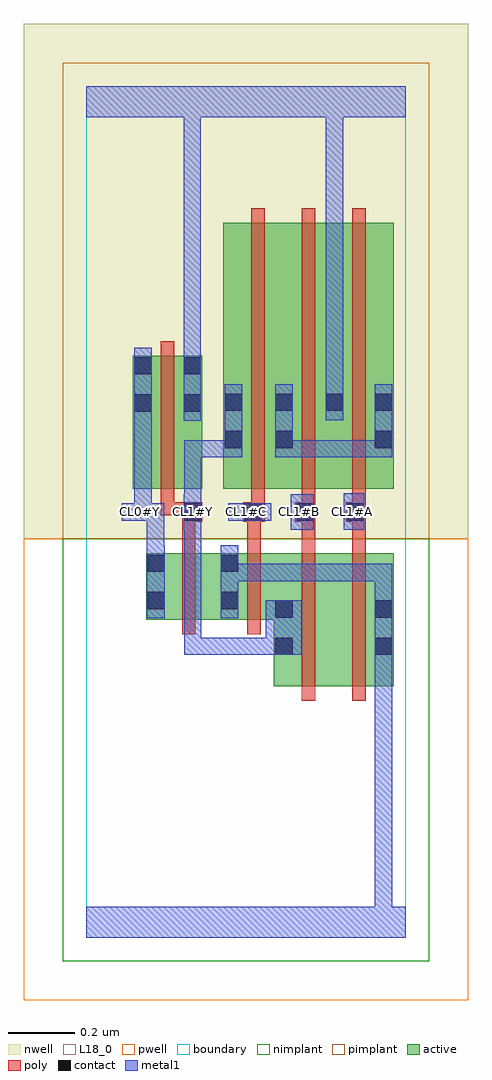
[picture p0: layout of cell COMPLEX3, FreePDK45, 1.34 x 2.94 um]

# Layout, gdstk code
import gdstk
lib = gdstk.Library(unit=1e-6, precision=1e-09)
def R(c, l, rs):  # rectangles x0, y0, x1, y1
    for r in rs: c.add(gdstk.rectangle(r[:2], r[2:], *l))
def A(c, l, x, y, w, h, nx, ny, dx, dy):  # array of equal rectangles
    R(c, l, [(x+i*dx, y+j*dy, x+i*dx+w, y+j*dy+h) for i in range(nx) for j in range(ny)])
active = (1, 0)
pwell = (2, 0)
nwell = (3, 0)
nimplant = (4, 0)
pimplant = (5, 0)
poly = (9, 0)
contact = (10, 0)
metal1 = (11, 0)
L18_0 = (18, 0)
boundary = (235, 0)

complex3 = lib.new_cell('COMPLEX3')
A(complex3, active, 0.412, 1.35, 0.06, 0.694, 3, 1, 0.152, 0)
R(complex3, active, [(0.564,0.756,0.624,1.156), (0.564,0.756,0.744,1.156), (0.744,0.756,0.924,1.156), (0.864,0.756,0.924,1.156), (0.18,0.956,0.24,1.156), (0.18,0.956,0.46,1.156), (0.4,0.956,0.624,1.156), (0.4,0.956,0.46,1.156), (0.14,1.35,0.2,1.75), (0.14,1.35,0.348,1.75), (0.288,1.35,0.348,1.75), (0.412,1.35,0.624,2.15), (0.564,1.35,0.776,2.15), (0.716,1.35,0.924,2.15), (0.864,1.35,0.924,2.044)])
R(complex3, pwell, [(-0.188,-0.188,1.148,1.2)])
R(complex3, nwell, [(-0.188,1.2,1.148,2.748)])
R(complex3, nimplant, [(-0.072,-0.072,1.032,1.2)])
R(complex3, pimplant, [(-0.072,1.2,1.032,2.632)])
A(complex3, poly, 0.496, 1.27, 0.04, 0.076, 3, 1, 0.152, 0)
A(complex3, poly, 0.496, 1.306, 0.04, 0.888, 3, 1, 0.152, 0)
R(complex3, poly, [(0.648,0.712,0.688,1.2), (0.8,0.712,0.84,1.2), (0.288,0.912,0.328,1.2), (0.484,0.912,0.524,1.2), (0.288,1.16,0.328,1.29), (0.484,1.16,0.524,1.29), (0.648,1.16,0.688,1.29), (0.8,1.16,0.84,1.29), (0.288,1.25,0.348,1.31), (0.472,1.25,0.536,1.31), (0.484,1.25,0.524,1.29), (0.484,1.25,0.524,1.29), (0.628,1.25,0.688,1.31), (0.648,1.25,0.688,1.29), (0.648,1.25,0.688,1.29), (0.78,1.25,0.84,1.31), (0.8,1.25,0.84,1.29), (0.8,1.25,0.84,1.29), (0.224,1.27,0.264,1.346), (0.224,1.27,0.328,1.31), (0.288,1.27,0.328,1.31), (0.224,1.306,0.264,1.794)])
A(complex3, contact, 0.416, 1.584, 0.052, 0.052, 3, 1, 0.152, 0)
R(complex3, contact, [(0.568,0.85,0.62,0.902), (0.868,0.85,0.92,0.902), (0.568,0.962,0.62,1.014), (0.868,0.962,0.92,1.014), (0.184,0.988,0.236,1.04), (0.404,0.988,0.456,1.04), (0.184,1.1,0.236,1.152), (0.404,1.1,0.456,1.152), (0.292,1.254,0.344,1.306), (0.476,1.254,0.528,1.306), (0.632,1.254,0.684,1.306), (0.784,1.254,0.836,1.306), (0.416,1.472,0.468,1.524), (0.568,1.472,0.62,1.524), (0.868,1.472,0.92,1.524), (0.144,1.582,0.196,1.634), (0.292,1.582,0.344,1.634), (0.868,1.584,0.92,1.636), (0.144,1.694,0.196,1.746), (0.292,1.694,0.344,1.746)])
R(complex3, metal1, [(0,0,0.96,0.092), (0.868,0.04,0.92,0.092), (0.868,0.04,0.92,0.092), (0.868,0.04,0.92,0.092), (0.868,0.04,0.92,0.092), (0.868,0.04,0.92,0.092), (0.868,0.04,0.92,0.092), (0.868,0.04,0.92,0.092), (0.868,0.04,0.92,0.092), (0.868,0.04,0.92,0.092), (0.868,0.04,0.92,0.092), (0.868,0.04,0.92,0.092), (0.868,0.04,0.92,0.092), (0.868,0.04,0.92,0.874), (0.868,0.822,0.92,1.042), (0.294,0.85,0.346,0.902), (0.294,0.85,0.346,0.902), (0.294,0.85,0.346,0.902), (0.294,0.85,0.456,0.902), (0.294,0.85,0.346,1.334), (0.404,0.85,0.456,0.902), (0.404,0.85,0.456,0.902), (0.404,0.85,0.456,0.902), (0.404,0.85,0.592,0.902), (0.54,0.85,0.648,1.014), (0.182,0.96,0.236,1.18), (0.404,0.96,0.456,1.18), (0.868,0.99,0.92,1.042), (0.868,0.99,0.92,1.042), (0.868,0.99,0.92,1.124), (0.404,1.072,0.456,1.124), (0.404,1.072,0.456,1.124), (0.404,1.072,0.62,1.124), (0.568,1.072,0.62,1.124), (0.568,1.072,0.62,1.124), (0.568,1.072,0.62,1.124), (0.568,1.072,0.73,1.124), (0.678,1.072,0.73,1.124), (0.678,1.072,0.92,1.124), (0.868,1.072,0.92,1.124), (0.868,1.072,0.92,1.124), (0.868,1.072,0.92,1.124), (0.868,1.072,0.92,1.124), (0.868,1.072,0.92,1.124), (0.182,1.128,0.234,1.306), (0.292,1.226,0.346,1.334), (0.614,1.226,0.684,1.334), (0.774,1.226,0.836,1.336), (0.106,1.254,0.234,1.306), (0.144,1.254,0.196,1.306), (0.144,1.254,0.196,1.306), (0.144,1.254,0.196,1.606), (0.426,1.254,0.556,1.306), (0.294,1.282,0.346,1.334), (0.294,1.282,0.346,1.334), (0.294,1.282,0.346,1.334), (0.294,1.282,0.346,1.334), (0.294,1.282,0.346,1.496), (0.294,1.444,0.346,1.496), (0.294,1.444,0.468,1.496), (0.416,1.444,0.468,1.664), (0.568,1.444,0.62,1.496), (0.568,1.444,0.62,1.496), (0.568,1.444,0.62,1.664), (0.568,1.444,0.73,1.496), (0.678,1.444,0.73,1.496), (0.678,1.444,0.92,1.496), (0.868,1.444,0.92,1.496), (0.868,1.444,0.92,1.496), (0.868,1.444,0.92,1.664), (0.144,1.554,0.196,1.774), (0.292,1.554,0.344,1.774), (0.72,1.556,0.772,1.664), (0.72,1.612,0.772,2.52), (0.292,1.722,0.344,1.774), (0.292,1.722,0.344,1.774), (0.292,1.722,0.344,1.774), (0.292,1.722,0.344,1.774), (0.292,1.722,0.344,2.52), (0,2.468,0.96,2.56), (0.292,2.468,0.344,2.52), (0.292,2.468,0.344,2.52), (0.292,2.468,0.344,2.52), (0.292,2.468,0.344,2.52), (0.292,2.468,0.344,2.52), (0.292,2.468,0.344,2.52), (0.292,2.468,0.344,2.52), (0.292,2.468,0.344,2.52), (0.292,2.468,0.344,2.52), (0.292,2.468,0.344,2.52), (0.292,2.468,0.344,2.52), (0.292,2.468,0.344,2.52), (0.72,2.468,0.772,2.52), (0.72,2.468,0.772,2.52), (0.72,2.468,0.772,2.52), (0.72,2.468,0.772,2.52), (0.72,2.468,0.772,2.52), (0.72,2.468,0.772,2.52), (0.72,2.468,0.772,2.52), (0.72,2.468,0.772,2.52)])
A(complex3, L18_0, 0.294, 1.254, 0.052, 0.052, 4, 1, 0.16, 0)
R(complex3, L18_0, [(0,0,0.96,0.092), (0.868,0.04,0.92,0.092), (0.868,0.04,0.92,0.092), (0.868,0.04,0.92,0.092), (0.868,0.04,0.92,0.092), (0.868,0.04,0.92,0.092), (0.868,0.04,0.92,0.092), (0.868,0.04,0.92,0.092), (0.868,0.04,0.92,0.092), (0.868,0.04,0.92,0.092), (0.868,0.04,0.92,0.092), (0.868,0.04,0.92,0.092), (0.868,0.04,0.92,0.092), (0.868,0.04,0.92,0.874), (0.868,0.822,0.92,1.042), (0.294,0.85,0.346,0.902), (0.294,0.85,0.346,0.902), (0.294,0.85,0.346,0.902), (0.294,0.85,0.346,1.334), (0.294,0.85,0.456,0.902), (0.404,0.85,0.456,0.902), (0.404,0.85,0.456,0.902), (0.404,0.85,0.456,0.902), (0.404,0.85,0.592,0.902), (0.54,0.85,0.648,1.014), (0.182,0.96,0.236,1.18), (0.404,0.96,0.456,1.18), (0.868,0.99,0.92,1.042), (0.868,0.99,0.92,1.042), (0.868,0.99,0.92,1.124), (0.404,1.072,0.456,1.124), (0.404,1.072,0.456,1.124), (0.404,1.072,0.62,1.124), (0.568,1.072,0.62,1.124), (0.568,1.072,0.62,1.124), (0.568,1.072,0.62,1.124), (0.568,1.072,0.73,1.124), (0.678,1.072,0.73,1.124), (0.678,1.072,0.92,1.124), (0.868,1.072,0.92,1.124), (0.868,1.072,0.92,1.124), (0.868,1.072,0.92,1.124), (0.868,1.072,0.92,1.124), (0.868,1.072,0.92,1.124), (0.182,1.128,0.234,1.306), (0.292,1.226,0.346,1.334), (0.614,1.226,0.684,1.334), (0.774,1.226,0.836,1.336), (0.106,1.254,0.234,1.306), (0.134,1.254,0.186,1.306), (0.144,1.254,0.196,1.306), (0.144,1.254,0.196,1.306), (0.144,1.254,0.196,1.606), (0.426,1.254,0.556,1.306), (0.294,1.282,0.346,1.334), (0.294,1.282,0.346,1.334), (0.294,1.282,0.346,1.334), (0.294,1.282,0.346,1.334), (0.294,1.282,0.346,1.496), (0.294,1.444,0.346,1.496), (0.294,1.444,0.468,1.496), (0.416,1.444,0.468,1.664), (0.144,1.554,0.196,1.774), (0.292,1.554,0.344,1.774), (0.72,1.556,0.772,1.664), (0.72,1.612,0.772,2.52), (0.292,1.722,0.344,1.774), (0.292,1.722,0.344,1.774), (0.292,1.722,0.344,1.774), (0.292,1.722,0.344,1.774), (0.292,1.722,0.344,2.52), (0,2.468,0.96,2.56), (0.292,2.468,0.344,2.52), (0.292,2.468,0.344,2.52), (0.292,2.468,0.344,2.52), (0.292,2.468,0.344,2.52), (0.292,2.468,0.344,2.52), (0.292,2.468,0.344,2.52), (0.292,2.468,0.344,2.52), (0.292,2.468,0.344,2.52), (0.292,2.468,0.344,2.52), (0.292,2.468,0.344,2.52), (0.292,2.468,0.344,2.52), (0.292,2.468,0.344,2.52), (0.72,2.468,0.772,2.52), (0.72,2.468,0.772,2.52), (0.72,2.468,0.772,2.52), (0.72,2.468,0.772,2.52), (0.72,2.468,0.772,2.52), (0.72,2.468,0.772,2.52), (0.72,2.468,0.772,2.52), (0.72,2.468,0.772,2.52)])
R(complex3, boundary, [(0,0,0.96,2.56)])
complex3.add(gdstk.Label('CL0#Y', (0.16,1.28), layer=11, texttype=0))
complex3.add(gdstk.Label('CL1#A', (0.8,1.28), layer=11, texttype=0))
complex3.add(gdstk.Label('CL1#B', (0.64,1.28), layer=11, texttype=0))
complex3.add(gdstk.Label('CL1#C', (0.48,1.28), layer=11, texttype=0))
complex3.add(gdstk.Label('CL1#Y', (0.32,1.28), layer=11, texttype=0))

lib.write_gds('COMPLEX3.gds')
